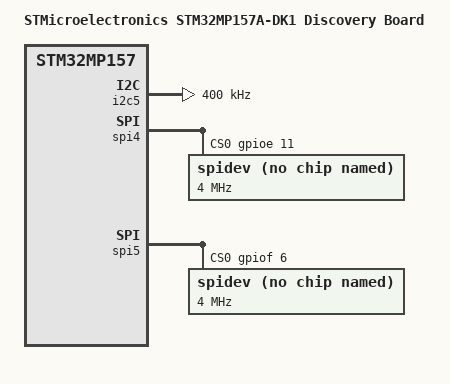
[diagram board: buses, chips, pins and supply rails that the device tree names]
// SPDX-License-Identifier: (GPL-2.0+ OR BSD-3-Clause)
/*
 * Copyright (C) STMicroelectronics 2019 - All Rights Reserved
 * Author: Alexandre Torgue <alexandre.torgue@st.com> for STMicroelectronics.
 */

/dts-v1/;

#include "stm32mp157.dtsi"
#include "stm32mp15-pinctrl.dtsi"
#include "stm32mp15xxac-pinctrl.dtsi"
#include "stm32mp15xx-dkx.dtsi"

/ {
	model = "STMicroelectronics STM32MP157A-DK1 Discovery Board";
	compatible = "st,stm32mp157a-dk1", "st,stm32mp157";

	aliases {
		ethernet0 = &ethernet0;
		serial0 = &uart4;
		serial1 = &usart3;
		serial2 = &uart7;
		spi0 = &spi4;
		spi1 = &spi5;
	};

	chosen {
		stdout-path = "serial0:115200n8";
	};
};

&i2c5 {
	pinctrl-names = "default", "sleep";
	pinctrl-0 = <&i2c5_pins_a>;
	pinctrl-1 = <&i2c5_sleep_pins_a>;
	i2c-scl-rising-time-ns = <185>;
	i2c-scl-falling-time-ns = <20>;
	clock-frequency = <400000>;
	/* spare dmas for other usage */
	/delete-property/dmas;
	/delete-property/dma-names;
	status = "okay";
};

&spi4 {
	pinctrl-names = "default";
	pinctrl-0 = <&spi4_pins_b>;
	cs-gpios = <&gpioe 11 GPIO_ACTIVE_HIGH>;
	/* Use PIO Mode */
	/delete-property/dmas;
	/delete-property/dma-names;
	status = "okay";

	spidev@0 {
		compatible = "spidev";
		reg = <0>;
		spi-max-frequency = <4000000>;
		st,spi-midi-ns = <4000>;
	};
};

&spi5 {
	pinctrl-names = "default";
	pinctrl-0 = <&spi5_pins_a>;
	cs-gpios = <&gpiof 6 GPIO_ACTIVE_HIGH>;
	/* Use PIO Mode */
	/delete-property/dmas;
	/delete-property/dma-names;
	status = "okay";

	spidev@0 {
		compatible = "spidev";
		reg = <0>;
		spi-max-frequency = <4000000>;
		st,spi-midi-ns = <4000>;
	};
};
